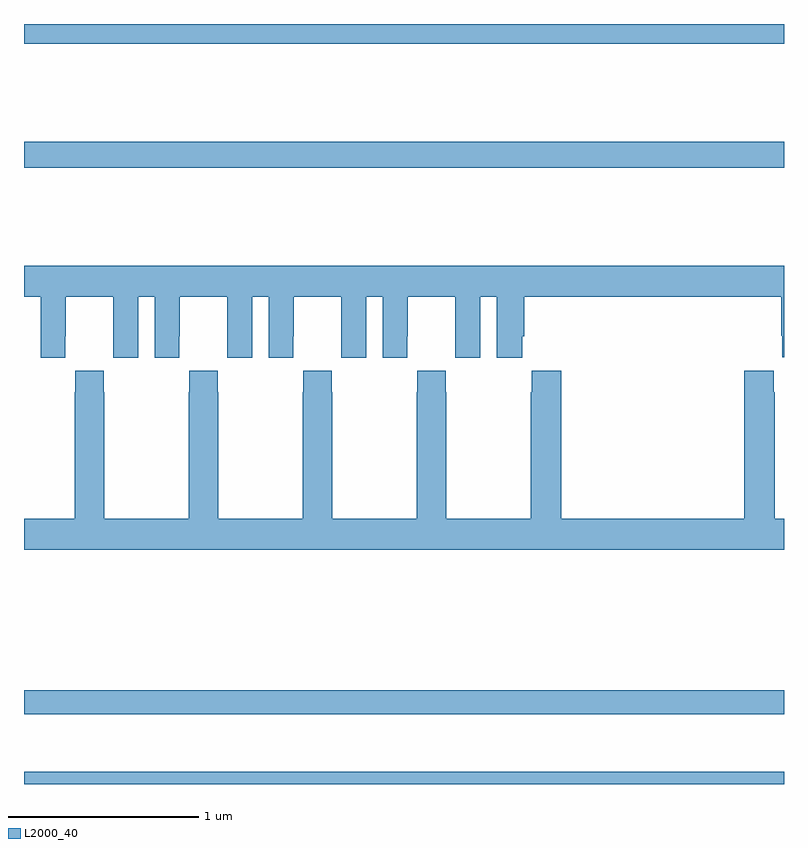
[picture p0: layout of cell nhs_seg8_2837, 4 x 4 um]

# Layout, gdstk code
import gdstk
lib = gdstk.Library(unit=1e-6, precision=1e-09)
def R(c, l, rs):  # rectangles x0, y0, x1, y1
    for r in rs: c.add(gdstk.rectangle(r[:2], r[2:], *l))
def P(c, l, *ps):  # polygons
    for p in ps: c.add(gdstk.Polygon(p, *l))
L2000_40 = (2000, 40)

nhs_seg8_2837 = lib.new_cell('nhs_seg8_2837')
R(nhs_seg8_2837, L2000_40, [(289,1149.9,293,1149.964), (289,1150.266,293,1150.394), (289,1153.144,293,1153.28), (289,1153.796,293,1153.9)])
P(nhs_seg8_2837, L2000_40, [(289.218,1152.256),(289.219,1152.256),(289.219,1152.464),(289.469,1152.464),(289.469,1152.256),(289.47,1152.256),(289.47,1152.144),(289.6,1152.144),(289.6,1152.464),(289.688,1152.464),(289.688,1152.144),(289.818,1152.144),(289.818,1152.256),(289.819,1152.256),(289.819,1152.464),(290.069,1152.464),(290.069,1152.256),(290.07,1152.256),(290.07,1152.144),(290.2,1152.144),(290.2,1152.464),(290.288,1152.464),(290.288,1152.144),(290.418,1152.144),(290.418,1152.256),(290.419,1152.256),(290.419,1152.464),(290.669,1152.464),(290.669,1152.256),(290.67,1152.256),(290.67,1152.144),(290.8,1152.144),(290.8,1152.464),(290.888,1152.464),(290.888,1152.144),(291.018,1152.144),(291.018,1152.256),(291.019,1152.256),(291.019,1152.464),(291.269,1152.464),(291.269,1152.256),(291.27,1152.256),(291.27,1152.144),(291.4,1152.144),(291.4,1152.464),(291.488,1152.464),(291.488,1152.144),(291.622,1152.144),(291.622,1152.256),(291.632,1152.256),(291.632,1152.464),(292.985,1152.464),(292.985,1152.259),(292.991,1152.259),(292.991,1152.147),(293,1152.147),(293,1152.628),(289,1152.628),(289,1152.464),(289.088,1152.464),(289.088,1152.144),(289.218,1152.144)],
  [(293,1151.296),(292.95,1151.296),(292.95,1151.963),(292.945,1151.963),(292.945,1152.076),(292.79,1152.076),(292.79,1151.296),(291.827,1151.296),(291.827,1152.076),(291.673,1152.076),(291.673,1151.963),(291.667,1151.963),(291.667,1151.296),(291.222,1151.296),(291.222,1151.963),(291.219,1151.963),(291.219,1152.076),(291.069,1152.076),(291.069,1151.963),(291.067,1151.963),(291.067,1151.296),(290.622,1151.296),(290.622,1151.963),(290.619,1151.963),(290.619,1152.076),(290.469,1152.076),(290.469,1151.963),(290.467,1151.963),(290.467,1151.296),(290.022,1151.296),(290.022,1151.963),(290.019,1151.963),(290.019,1152.076),(289.869,1152.076),(289.869,1151.963),(289.867,1151.963),(289.867,1151.296),(289.422,1151.296),(289.422,1151.963),(289.419,1151.963),(289.419,1152.076),(289.269,1152.076),(289.269,1151.963),(289.267,1151.963),(289.267,1151.296),(289,1151.296),(289,1151.132),(293,1151.132)])

lib.write_gds('nhs_seg8_2837.gds')
